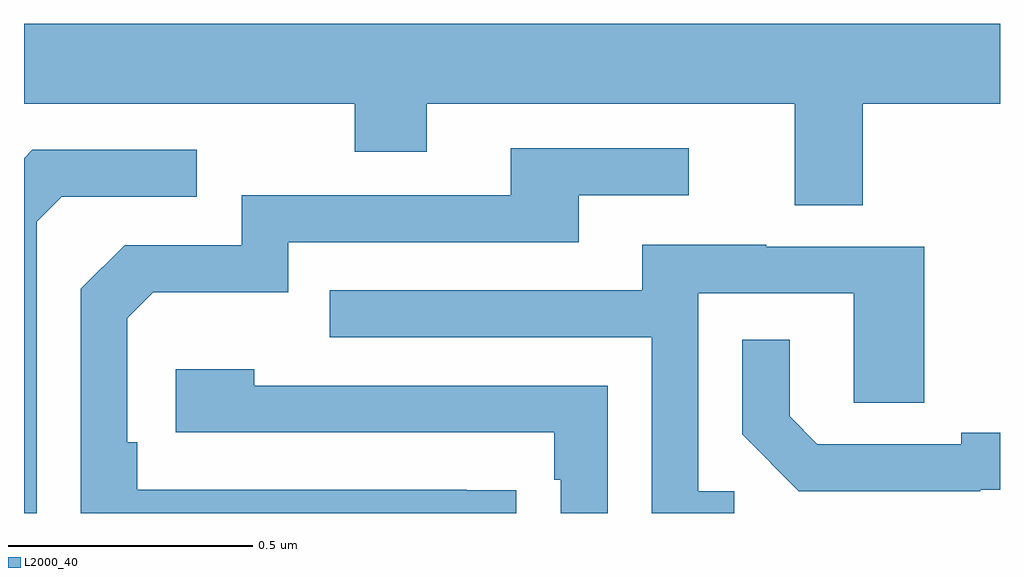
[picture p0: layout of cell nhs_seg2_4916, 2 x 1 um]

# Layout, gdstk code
import gdstk
lib = gdstk.Library(unit=1e-6, precision=1e-09)
def P(c, l, *ps):  # polygons
    for p in ps: c.add(gdstk.Polygon(p, *l))
L2000_40 = (2000, 40)

nhs_seg2_4916 = lib.new_cell('nhs_seg2_4916')
P(nhs_seg2_4916, L2000_40, [(173.719,643.64),(174,643.64),(174,643.804),(172,643.804),(172,643.64),(172.678,643.64),(172.678,643.541),(172.825,643.541),(172.825,643.64),(173.579,643.64),(173.579,643.432),(173.719,643.432)],
  [(173.009,642.848),(172.907,642.848),(172.907,642.849),(172.232,642.849),(172.232,642.946),(172.212,642.946),(172.212,643.2),(172.265,643.253),(172.542,643.253),(172.542,643.356),(173.137,643.356),(173.137,643.452),(173.362,643.452),(173.362,643.548),(172.997,643.548),(172.997,643.452),(172.446,643.452),(172.446,643.35),(172.206,643.35),(172.116,643.26),(172.116,642.8),(173.009,642.8)],
  [(172.026,643.398),(172.077,643.449),(172.354,643.449),(172.354,643.545),(172.017,643.545),(172,643.528),(172,642.8),(172.026,642.8)],
  [(173.455,642.846),(173.382,642.846),(173.382,643.251),(173.7,643.251),(173.7,643.027),(173.845,643.027),(173.845,643.347),(173.521,643.347),(173.521,643.351),(173.267,643.351),(173.267,643.257),(172.627,643.257),(172.627,643.161),(173.286,643.161),(173.286,642.8),(173.455,642.8)],
  [(173.96,642.849),(174,642.849),(174,642.965),(173.921,642.965),(173.921,642.942),(173.626,642.942),(173.569,642.999),(173.569,643.156),(173.472,643.156),(173.472,642.962),(173.588,642.846),(173.96,642.846)],
  [(173.196,643.062),(172.472,643.062),(172.472,643.096),(172.311,643.096),(172.311,642.966),(173.087,642.966),(173.087,642.869),(173.1,642.869),(173.1,642.8),(173.196,642.8)])

lib.write_gds('nhs_seg2_4916.gds')
